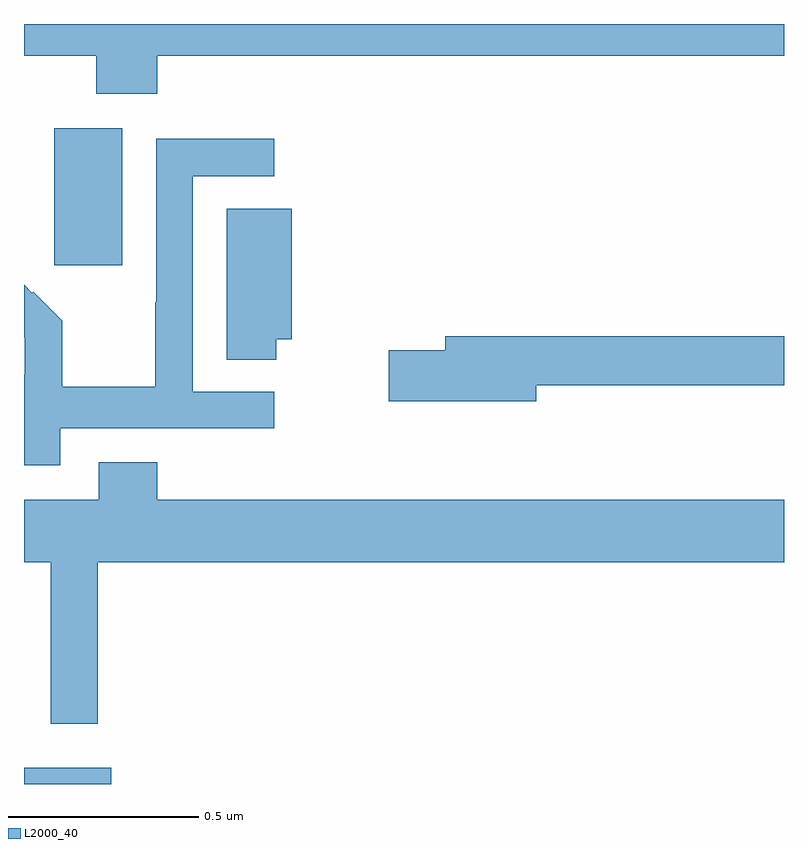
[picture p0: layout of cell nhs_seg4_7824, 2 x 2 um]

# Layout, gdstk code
import gdstk
lib = gdstk.Library(unit=1e-6, precision=1e-09)
def R(c, l, rs):  # rectangles x0, y0, x1, y1
    for r in rs: c.add(gdstk.rectangle(r[:2], r[2:], *l))
def P(c, l, *ps):  # polygons
    for p in ps: c.add(gdstk.Polygon(p, *l))
L2000_40 = (2000, 40)

nhs_seg4_7824 = lib.new_cell('nhs_seg4_7824')
R(nhs_seg4_7824, L2000_40, [(207,798.9,207.229,798.943), (207.08,800.265,207.259,800.626)])
P(nhs_seg4_7824, L2000_40, [(207.35,800.816),(209,800.816),(209,800.9),(207,800.9),(207,800.816),(207.19,800.816),(207.19,800.717),(207.35,800.717)],
  [(207.096,799.836),(207.658,799.836),(207.658,799.932),(207.444,799.932),(207.444,800.499),(207.658,800.499),(207.658,800.598),(207.348,800.598),(207.348,800.168),(207.346,800.168),(207.346,799.945),(207.101,799.945),(207.101,800.119),(207.024,800.196),(207.021,800.193),(207,800.214),(207,800.076),(207.002,800.074),(207.002,799.977),(207,799.977),(207,799.739),(207.096,799.739)],
  [(207.664,800.07),(207.704,800.07),(207.704,800.414),(207.533,800.414),(207.533,800.017),(207.664,800.017)],
  [(208.348,799.95),(209,799.95),(209,800.078),(208.109,800.078),(208.109,800.042),(207.96,800.042),(207.96,799.907),(208.348,799.907)],
  [(207.194,799.484),(209,799.484),(209,799.648),(207.35,799.648),(207.35,799.747),(207.197,799.747),(207.197,799.648),(207,799.648),(207,799.484),(207.071,799.484),(207.071,799.059),(207.194,799.059)])

lib.write_gds('nhs_seg4_7824.gds')
